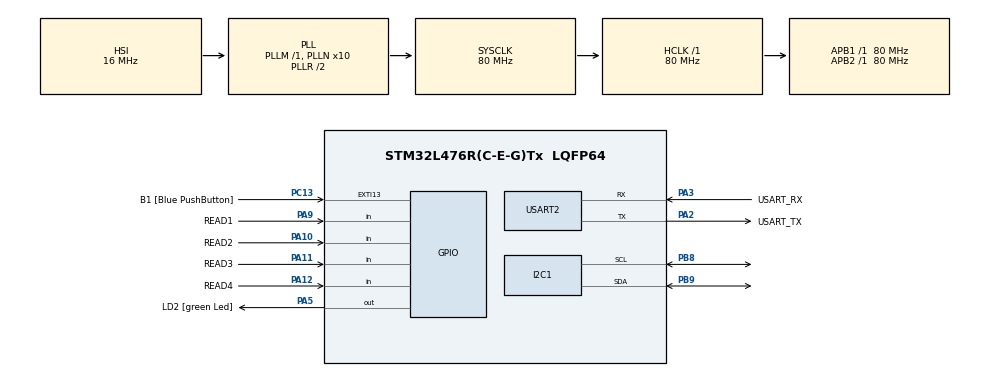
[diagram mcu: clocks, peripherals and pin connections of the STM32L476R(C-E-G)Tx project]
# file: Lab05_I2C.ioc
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I2C1.Timing=0x10909CEC
Mcu.Family=STM32L4
Mcu.Name=STM32L476R(C-E-G)Tx
Mcu.Package=LQFP64
NVIC.PriorityGroup=NVIC_PRIORITYGROUP_4
PA10.GPIO_Label=READ2
PA10.GPIO_PuPd=GPIO_PULLDOWN
PA10.Signal=GPIO_Input
PA11.GPIO_Label=READ3
PA11.GPIO_PuPd=GPIO_PULLDOWN
PA11.Signal=GPIO_Input
PA12.GPIO_Label=READ4
PA12.GPIO_PuPd=GPIO_PULLDOWN
PA12.Signal=GPIO_Input
PA13\ (JTMS-SWDIO).GPIO_Label=TMS
PA13\ (JTMS-SWDIO).Mode=Serial_Wire
PA13\ (JTMS-SWDIO).Signal=SYS_JTMS-SWDIO
PA14\ (JTCK-SWCLK).GPIO_Label=TCK
PA14\ (JTCK-SWCLK).Mode=Serial_Wire
PA14\ (JTCK-SWCLK).Signal=SYS_JTCK-SWCLK
PA2.GPIO_Label=USART_TX
PA2.GPIO_Mode=GPIO_MODE_AF_PP
PA2.GPIO_PuPd=GPIO_NOPULL
PA2.GPIO_Speed=GPIO_SPEED_FREQ_VERY_HIGH
PA2.Mode=Asynchronous
PA2.Signal=USART2_TX
PA3.GPIO_Label=USART_RX
PA3.GPIO_Mode=GPIO_MODE_AF_PP
PA3.GPIO_PuPd=GPIO_NOPULL
PA3.GPIO_Speed=GPIO_SPEED_FREQ_VERY_HIGH
PA3.Mode=Asynchronous
PA3.Signal=USART2_RX
PA5.GPIO_Label=LD2 [green Led]
PA5.GPIO_ModeDefaultOutputPP=GPIO_MODE_OUTPUT_PP
PA5.GPIO_PuPd=GPIO_NOPULL
PA5.GPIO_Speed=GPIO_SPEED_FREQ_LOW
PA5.Signal=GPIO_Output
PA9.GPIO_Label=READ1
PA9.GPIO_PuPd=GPIO_PULLDOWN
PA9.Signal=GPIO_Input
PB3\ (JTDO-TRACESWO).GPIO_Label=SWO
PB3\ (JTDO-TRACESWO).Signal=SYS_JTDO-SWO
PB8.Mode=I2C
PB8.Signal=I2C1_SCL
PB9.Mode=I2C
PB9.Signal=I2C1_SDA
PC13.GPIO_Label=B1 [Blue PushButton]
PC13.GPIO_ModeDefaultEXTI=GPIO_MODE_IT_FALLING
PC13.GPIO_PuPd=GPIO_NOPULL
PC13.Signal=GPXTI13
PC14-OSC32_IN\ (PC14).Mode=LSE-External-Oscillator
PC14-OSC32_IN\ (PC14).Signal=RCC_OSC32_IN
PC15-OSC32_OUT\ (PC15).Mode=LSE-External-Oscillator
PC15-OSC32_OUT\ (PC15).Signal=RCC_OSC32_OUT
PH0-OSC_IN\ (PH0).Signal=RCC_OSC_IN
PH1-OSC_OUT\ (PH1).Signal=RCC_OSC_OUT
ProjectManager.HeapSize=0x200
ProjectManager.StackSize=0x400
ProjectManager.TargetToolchain=STM32CubeIDE
RCC.ADCFreq_Value=64000000
RCC.AHBFreq_Value=80000000
RCC.APB1Freq_Value=80000000
RCC.APB1TimFreq_Value=80000000
RCC.APB2Freq_Value=80000000
RCC.APB2TimFreq_Value=80000000
RCC.CortexFreq_Value=80000000
RCC.HCLKFreq_Value=80000000
RCC.HSE_VALUE=8000000
RCC.HSI_VALUE=16000000
RCC.MSI_VALUE=4000000
RCC.PLLN=10
RCC.PLLSourceVirtual=RCC_PLLSOURCE_HSI
RCC.PREFETCH_ENABLE=1
RCC.SYSCLKFreq_VALUE=80000000
RCC.SYSCLKSource=RCC_SYSCLKSOURCE_PLLCLK
RCC.USBFreq_Value=64000000
RCC.VCOOutputFreq_Value=160000000
USART2.VirtualMode-Asynchronous=VM_ASYNC
board=NUCLEO-L476RG

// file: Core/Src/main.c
/* USER CODE BEGIN Header */
/**
  ******************************************************************************
  * @file           : main.c
  * @brief          : Main program body
  ******************************************************************************
  * @attention
  *
  * Copyright (c) 2022 STMicroelectronics.
  * All rights reserved.
  *
  * This software is licensed under terms that can be found in the LICENSE file
  * in the root directory of this software component.
  * If no LICENSE file comes with this software, it is provided AS-IS.
  *
  ******************************************************************************
  */
/* USER CODE END Header */
#include "main.h"

/* USER CODE BEGIN Includes */
#include "stdio.h"
/* USER CODE END Includes */

/* USER CODE BEGIN PD */

/*EXPANDER MCP23S08 MAIN REGISTERS*/
#define ADDRES_LPS22HB 0xBA
#define WHO_AM_I_LPS22HP 0x0F
#define LPS22HB_CTRL_REG1 0x20
#define LPS22HB_CTRL_REG2 0x21
#define LPS22HB_CTRL_REG3 0x22
#define LPS22HB_CTRL_REG4 0x23
#define LPS22HB_PRESS_OUT_XL 0x28
#define LPS22HB_PRESS_OUT_L 0x29
#define LPS22HB_PRESS_OUT_H 0x2A
#define LPS22HB_TEMP_OUT_L 0x2B
#define LPS25HB_TEMP_OUT_H 0x2C

/*EXPANDER PCF8574N*/
#define PCF_ADDRESS_WRITE 0x40
#define PCF_ADDRESS_READ 0x41

/**/
#define EXPANDER_WRITE 0x40
#define EXPANDER_READ 0x41
/* USER CODE END PD */

 I2C_HandleTypeDef hi2c1;

UART_HandleTypeDef huart2;

void SystemClock_Config(void);
static void MX_GPIO_Init(void);
static void MX_USART2_UART_Init(void);
static void MX_I2C1_Init(void);
/* USER CODE BEGIN PFP */
int _write(int file, char* message, int len)
{
	HAL_UART_Transmit(&huart2, (uint8_t*)message, len, 2);
	return len;
}

uint8_t lpsReadREG(uint8_t Reg)
{
	uint8_t Value = 0;
	HAL_I2C_Mem_Read(&hi2c1, ADDRES_LPS22HB, Reg, 1, &Value, sizeof(Value), HAL_MAX_DELAY);

	return Value;
}

void lpsWriteREG(uint8_t Reg, uint8_t Value)
{
	HAL_I2C_Mem_Write(&hi2c1, ADDRES_LPS22HB, Reg, 1, &Value, sizeof(Value), HAL_MAX_DELAY);
}
/* USER CODE END PFP */

int main(void)
{

  /* MCU Configuration--------------------------------------------------------*/

  /* Reset of all peripherals, Initializes the Flash interface and the Systick. */
  HAL_Init();

  /* Configure the system clock */
  SystemClock_Config();

  /* Initialize all configured peripherals */
  MX_GPIO_Init();
  MX_USART2_UART_Init();
  MX_I2C1_Init();
  /* USER CODE BEGIN 2 */

  /*CONFIGURATING EXPANDERS GPIOS: GPIO0-GPIO3*/
  //	uint8_t who_am_i = lpsReadREG(WHO_AM_I_LPS22HP);
  //	if(who_am_i == 0b10110001)
  //		printf("[INFO] Correct device\r\n");
  //	else
  //		printf("[ERROR] Wrong device, received addres = %u \n\r", who_am_i);

  lpsWriteREG(PCF_ADDRESS_WRITE, 0b00000001);
  /* USER CODE END 2 */

  /* Infinite loop */
  /* USER CODE BEGIN WHILE */
  while (1)
  {
	  lpsWriteREG(PCF_ADDRESS_WRITE, 0b00000000);
	  HAL_Delay(1000);
	  lpsWriteREG(PCF_ADDRESS_WRITE, 0b00000001);
	  HAL_Delay(1000);
	  lpsWriteREG(PCF_ADDRESS_WRITE, 0b00000010);
	  HAL_Delay(1000);
	  lpsWriteREG(PCF_ADDRESS_WRITE, 0b00000011);
	  HAL_Delay(1000);
    /* USER CODE END WHILE */

  }
}

void SystemClock_Config(void)
{
  RCC_OscInitTypeDef RCC_OscInitStruct = {0};
  RCC_ClkInitTypeDef RCC_ClkInitStruct = {0};

  /** Configure the main internal regulator output voltage
  */
  if (HAL_PWREx_ControlVoltageScaling(PWR_REGULATOR_VOLTAGE_SCALE1) != HAL_OK)
  {
    Error_Handler();
  }

  /** Initializes the RCC Oscillators according to the specified parameters
  * in the RCC_OscInitTypeDef structure.
  */
  RCC_OscInitStruct.OscillatorType = RCC_OSCILLATORTYPE_HSI;
  RCC_OscInitStruct.HSIState = RCC_HSI_ON;
  RCC_OscInitStruct.HSICalibrationValue = RCC_HSICALIBRATION_DEFAULT;
  RCC_OscInitStruct.PLL.PLLState = RCC_PLL_ON;
  RCC_OscInitStruct.PLL.PLLSource = RCC_PLLSOURCE_HSI;
  RCC_OscInitStruct.PLL.PLLM = 1;
  RCC_OscInitStruct.PLL.PLLN = 10;
  RCC_OscInitStruct.PLL.PLLP = RCC_PLLP_DIV7;
  RCC_OscInitStruct.PLL.PLLQ = RCC_PLLQ_DIV2;
  RCC_OscInitStruct.PLL.PLLR = RCC_PLLR_DIV2;
  if (HAL_RCC_OscConfig(&RCC_OscInitStruct) != HAL_OK)
  {
    Error_Handler();
  }

  /** Initializes the CPU, AHB and APB buses clocks
  */
  RCC_ClkInitStruct.ClockType = RCC_CLOCKTYPE_HCLK|RCC_CLOCKTYPE_SYSCLK
                              |RCC_CLOCKTYPE_PCLK1|RCC_CLOCKTYPE_PCLK2;
  RCC_ClkInitStruct.SYSCLKSource = RCC_SYSCLKSOURCE_PLLCLK;
  RCC_ClkInitStruct.AHBCLKDivider = RCC_SYSCLK_DIV1;
  RCC_ClkInitStruct.APB1CLKDivider = RCC_HCLK_DIV1;
  RCC_ClkInitStruct.APB2CLKDivider = RCC_HCLK_DIV1;

  if (HAL_RCC_ClockConfig(&RCC_ClkInitStruct, FLASH_LATENCY_4) != HAL_OK)
  {
    Error_Handler();
  }
}

static void MX_I2C1_Init(void)
{

  hi2c1.Instance = I2C1;
  hi2c1.Init.Timing = 0x10909CEC;
  hi2c1.Init.OwnAddress1 = 0;
  hi2c1.Init.AddressingMode = I2C_ADDRESSINGMODE_7BIT;
  hi2c1.Init.DualAddressMode = I2C_DUALADDRESS_DISABLE;
  hi2c1.Init.OwnAddress2 = 0;
  hi2c1.Init.OwnAddress2Masks = I2C_OA2_NOMASK;
  hi2c1.Init.GeneralCallMode = I2C_GENERALCALL_DISABLE;
  hi2c1.Init.NoStretchMode = I2C_NOSTRETCH_DISABLE;
  if (HAL_I2C_Init(&hi2c1) != HAL_OK)
  {
    Error_Handler();
  }

  /** Configure Analogue filter
  */
  if (HAL_I2CEx_ConfigAnalogFilter(&hi2c1, I2C_ANALOGFILTER_ENABLE) != HAL_OK)
  {
    Error_Handler();
  }

  /** Configure Digital filter
  */
  if (HAL_I2CEx_ConfigDigitalFilter(&hi2c1, 0) != HAL_OK)
  {
    Error_Handler();
  }

}

static void MX_USART2_UART_Init(void)
{

  huart2.Instance = USART2;
  huart2.Init.BaudRate = 115200;
  huart2.Init.WordLength = UART_WORDLENGTH_8B;
  huart2.Init.StopBits = UART_STOPBITS_1;
  huart2.Init.Parity = UART_PARITY_NONE;
  huart2.Init.Mode = UART_MODE_TX_RX;
  huart2.Init.HwFlowCtl = UART_HWCONTROL_NONE;
  huart2.Init.OverSampling = UART_OVERSAMPLING_16;
  huart2.Init.OneBitSampling = UART_ONE_BIT_SAMPLE_DISABLE;
  huart2.AdvancedInit.AdvFeatureInit = UART_ADVFEATURE_NO_INIT;
  if (HAL_UART_Init(&huart2) != HAL_OK)
  {
    Error_Handler();
  }

}

static void MX_GPIO_Init(void)
{
  GPIO_InitTypeDef GPIO_InitStruct = {0};

  /* GPIO Ports Clock Enable */
  __HAL_RCC_GPIOC_CLK_ENABLE();
  __HAL_RCC_GPIOH_CLK_ENABLE();
  __HAL_RCC_GPIOA_CLK_ENABLE();
  __HAL_RCC_GPIOB_CLK_ENABLE();

  /*Configure GPIO pin Output Level */
  HAL_GPIO_WritePin(LD2_GPIO_Port, LD2_Pin, GPIO_PIN_RESET);

  /*Configure GPIO pin : B1_Pin */
  GPIO_InitStruct.Pin = B1_Pin;
  GPIO_InitStruct.Mode = GPIO_MODE_IT_FALLING;
  GPIO_InitStruct.Pull = GPIO_NOPULL;
  HAL_GPIO_Init(B1_GPIO_Port, &GPIO_InitStruct);

  /*Configure GPIO pin : LD2_Pin */
  GPIO_InitStruct.Pin = LD2_Pin;
  GPIO_InitStruct.Mode = GPIO_MODE_OUTPUT_PP;
  GPIO_InitStruct.Pull = GPIO_NOPULL;
  GPIO_InitStruct.Speed = GPIO_SPEED_FREQ_LOW;
  HAL_GPIO_Init(LD2_GPIO_Port, &GPIO_InitStruct);

  /*Configure GPIO pins : READ1_Pin READ2_Pin READ3_Pin READ4_Pin */
  GPIO_InitStruct.Pin = READ1_Pin|READ2_Pin|READ3_Pin|READ4_Pin;
  GPIO_InitStruct.Mode = GPIO_MODE_INPUT;
  GPIO_InitStruct.Pull = GPIO_PULLDOWN;
  HAL_GPIO_Init(GPIOA, &GPIO_InitStruct);

}

void Error_Handler(void)
{
  __disable_irq();
  while (1)
  {
  }
}
